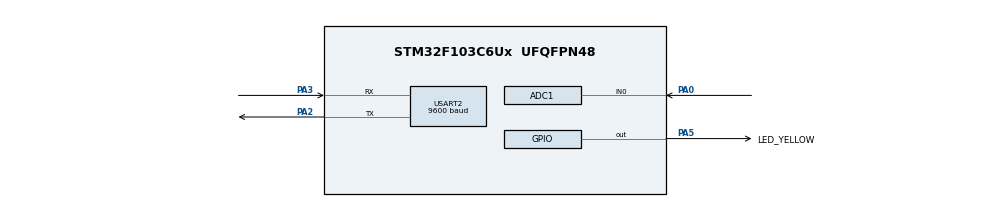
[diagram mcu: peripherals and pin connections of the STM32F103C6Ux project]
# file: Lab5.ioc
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ADC1.Channel-0\#ChannelRegularConversion=ADC_CHANNEL_0
ADC1.ContinuousConvMode=ENABLE
ADC1.NbrOfConversion=1
ADC1.NbrOfConversionFlag=1
ADC1.Rank-0\#ChannelRegularConversion=1
ADC1.SamplingTime-0\#ChannelRegularConversion=ADC_SAMPLETIME_1CYCLE_5
ADC1.master=1
Mcu.Family=STM32F1
Mcu.Name=STM32F103C6Ux
Mcu.Package=UFQFPN48
NVIC.PriorityGroup=NVIC_PRIORITYGROUP_4
NVIC.TIM2_IRQn=true\:0\:0\:false\:false\:true\:true\:true
NVIC.USART2_IRQn=true\:0\:0\:false\:false\:true\:true\:true
PA0-WKUP.Signal=ADCx_IN0
PA2.Mode=Asynchronous
PA2.Signal=USART2_TX
PA3.Mode=Asynchronous
PA3.Signal=USART2_RX
PA5.GPIO_Label=LED_YELLOW
PA5.Signal=GPIO_Output
ProjectManager.HeapSize=0x200
ProjectManager.StackSize=0x400
ProjectManager.TargetToolchain=STM32CubeIDE
RCC.APB1Freq_Value=8000000
RCC.APB2Freq_Value=8000000
SH.ADCx_IN0.0=ADC1_IN0,IN0
TIM2.Period=9
TIM2.Prescaler=7999
USART2.BaudRate=9600
USART2.VirtualMode=VM_ASYNC
VP_SYS_VS_ND.Mode=No_Debug
VP_TIM2_VS_ClockSourceINT.Mode=Internal
board=custom

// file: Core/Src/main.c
/* USER CODE BEGIN Header */
/**
  ******************************************************************************
  * @file           : main.c
  * @brief          : Main program body
  ******************************************************************************
  * @attention
  *
  * <h2><center>&copy; Copyright (c) 2022 STMicroelectronics.
  * All rights reserved.</center></h2>
  *
  * This software component is licensed by ST under BSD 3-Clause license,
  * the "License"; You may not use this file except in compliance with the
  * License. You may obtain a copy of the License at:
  *                        opensource.org/licenses/BSD-3-Clause
  *
  ******************************************************************************
  */
/* USER CODE END Header */
#include "main.h"

/* USER CODE BEGIN Includes */
#include <stdio.h>
#include "command_parser.h"
#include "uart_communication.h"
#include "software_timer.h"
#include "global.h"
/* USER CODE END Includes */

ADC_HandleTypeDef hadc1;

TIM_HandleTypeDef htim2;

UART_HandleTypeDef huart2;

void SystemClock_Config(void);
static void MX_GPIO_Init(void);
static void MX_ADC1_Init(void);
static void MX_USART2_UART_Init(void);
static void MX_TIM2_Init(void);

/* USER CODE BEGIN 0 */

void HAL_UART_RxCpltCallback ( UART_HandleTypeDef * huart ){
	if(huart -> Instance == USART2 ){
		buffer[index_buffer++] = temp;
		if (index_buffer == 30) index_buffer = 0;
		buffer_flag = 1;
		HAL_UART_Transmit(&huart2 , &temp , 1, 50);
		HAL_UART_Receive_IT	(&huart2 , &temp , 1);
	}
}
/* USER CODE END 0 */

int main(void)
{

  /* MCU Configuration--------------------------------------------------------*/

  /* Reset of all peripherals, Initializes the Flash interface and the Systick. */
  HAL_Init();

  /* Configure the system clock */
  SystemClock_Config();

  /* Initialize all configured peripherals */
  MX_GPIO_Init();
  MX_ADC1_Init();
  MX_USART2_UART_Init();
  MX_TIM2_Init();
  /* USER CODE BEGIN 2 */
  HAL_UART_Receive_IT (& huart2 , & temp , 1) ;
  HAL_TIM_Base_Start_IT(&htim2);
//  HAL_TIM_PWM_Start(&htim2, TIM_CHANNEL_1);
//  HAL_TIM_Base_Start_IT(&htim2);
  /* USER CODE END 2 */

  /* Infinite loop */
  /* USER CODE BEGIN WHILE */
  setTimer0(100);
  while (1)
  {
	  if(buffer_flag == 1){
		  command_parser_fsm();
		  buffer_flag = 0;
	  }
	  if(timer0_flag == 1){
		  timer0_flag = 0;
		  HAL_GPIO_TogglePin(LED_YELLOW_GPIO_Port, LED_YELLOW_Pin);
		  setTimer0(50);
	  }
	  uart_communication_fsm();
    /* USER CODE END WHILE */

  }
}

void SystemClock_Config(void)
{
  RCC_OscInitTypeDef RCC_OscInitStruct = {0};
  RCC_ClkInitTypeDef RCC_ClkInitStruct = {0};
  RCC_PeriphCLKInitTypeDef PeriphClkInit = {0};

  /** Initializes the RCC Oscillators according to the specified parameters
  * in the RCC_OscInitTypeDef structure.
  */
  RCC_OscInitStruct.OscillatorType = RCC_OSCILLATORTYPE_HSI;
  RCC_OscInitStruct.HSIState = RCC_HSI_ON;
  RCC_OscInitStruct.HSICalibrationValue = RCC_HSICALIBRATION_DEFAULT;
  RCC_OscInitStruct.PLL.PLLState = RCC_PLL_NONE;
  if (HAL_RCC_OscConfig(&RCC_OscInitStruct) != HAL_OK)
  {
    Error_Handler();
  }
  /** Initializes the CPU, AHB and APB buses clocks
  */
  RCC_ClkInitStruct.ClockType = RCC_CLOCKTYPE_HCLK|RCC_CLOCKTYPE_SYSCLK
                              |RCC_CLOCKTYPE_PCLK1|RCC_CLOCKTYPE_PCLK2;
  RCC_ClkInitStruct.SYSCLKSource = RCC_SYSCLKSOURCE_HSI;
  RCC_ClkInitStruct.AHBCLKDivider = RCC_SYSCLK_DIV1;
  RCC_ClkInitStruct.APB1CLKDivider = RCC_HCLK_DIV1;
  RCC_ClkInitStruct.APB2CLKDivider = RCC_HCLK_DIV1;

  if (HAL_RCC_ClockConfig(&RCC_ClkInitStruct, FLASH_LATENCY_0) != HAL_OK)
  {
    Error_Handler();
  }
  PeriphClkInit.PeriphClockSelection = RCC_PERIPHCLK_ADC;
  PeriphClkInit.AdcClockSelection = RCC_ADCPCLK2_DIV2;
  if (HAL_RCCEx_PeriphCLKConfig(&PeriphClkInit) != HAL_OK)
  {
    Error_Handler();
  }
}

static void MX_ADC1_Init(void)
{

  ADC_ChannelConfTypeDef sConfig = {0};

  /** Common config
  */
  hadc1.Instance = ADC1;
  hadc1.Init.ScanConvMode = ADC_SCAN_DISABLE;
  hadc1.Init.ContinuousConvMode = ENABLE;
  hadc1.Init.DiscontinuousConvMode = DISABLE;
  hadc1.Init.ExternalTrigConv = ADC_SOFTWARE_START;
  hadc1.Init.DataAlign = ADC_DATAALIGN_RIGHT;
  hadc1.Init.NbrOfConversion = 1;
  if (HAL_ADC_Init(&hadc1) != HAL_OK)
  {
    Error_Handler();
  }
  /** Configure Regular Channel
  */
  sConfig.Channel = ADC_CHANNEL_0;
  sConfig.Rank = ADC_REGULAR_RANK_1;
  sConfig.SamplingTime = ADC_SAMPLETIME_1CYCLE_5;
  if (HAL_ADC_ConfigChannel(&hadc1, &sConfig) != HAL_OK)
  {
    Error_Handler();
  }

}

static void MX_TIM2_Init(void)
{

  TIM_ClockConfigTypeDef sClockSourceConfig = {0};
  TIM_MasterConfigTypeDef sMasterConfig = {0};

  htim2.Instance = TIM2;
  htim2.Init.Prescaler = 7999;
  htim2.Init.CounterMode = TIM_COUNTERMODE_UP;
  htim2.Init.Period = 9;
  htim2.Init.ClockDivision = TIM_CLOCKDIVISION_DIV1;
  htim2.Init.AutoReloadPreload = TIM_AUTORELOAD_PRELOAD_DISABLE;
  if (HAL_TIM_Base_Init(&htim2) != HAL_OK)
  {
    Error_Handler();
  }
  sClockSourceConfig.ClockSource = TIM_CLOCKSOURCE_INTERNAL;
  if (HAL_TIM_ConfigClockSource(&htim2, &sClockSourceConfig) != HAL_OK)
  {
    Error_Handler();
  }
  sMasterConfig.MasterOutputTrigger = TIM_TRGO_RESET;
  sMasterConfig.MasterSlaveMode = TIM_MASTERSLAVEMODE_DISABLE;
  if (HAL_TIMEx_MasterConfigSynchronization(&htim2, &sMasterConfig) != HAL_OK)
  {
    Error_Handler();
  }

}

static void MX_USART2_UART_Init(void)
{

  huart2.Instance = USART2;
  huart2.Init.BaudRate = 9600;
  huart2.Init.WordLength = UART_WORDLENGTH_8B;
  huart2.Init.StopBits = UART_STOPBITS_1;
  huart2.Init.Parity = UART_PARITY_NONE;
  huart2.Init.Mode = UART_MODE_TX_RX;
  huart2.Init.HwFlowCtl = UART_HWCONTROL_NONE;
  huart2.Init.OverSampling = UART_OVERSAMPLING_16;
  if (HAL_UART_Init(&huart2) != HAL_OK)
  {
    Error_Handler();
  }

}

static void MX_GPIO_Init(void)
{
  GPIO_InitTypeDef GPIO_InitStruct = {0};

  /* GPIO Ports Clock Enable */
  __HAL_RCC_GPIOA_CLK_ENABLE();

  /*Configure GPIO pin Output Level */
  HAL_GPIO_WritePin(LED_YELLOW_GPIO_Port, LED_YELLOW_Pin, GPIO_PIN_RESET);

  /*Configure GPIO pin : LED_YELLOW_Pin */
  GPIO_InitStruct.Pin = LED_YELLOW_Pin;
  GPIO_InitStruct.Mode = GPIO_MODE_OUTPUT_PP;
  GPIO_InitStruct.Pull = GPIO_NOPULL;
  GPIO_InitStruct.Speed = GPIO_SPEED_FREQ_LOW;
  HAL_GPIO_Init(LED_YELLOW_GPIO_Port, &GPIO_InitStruct);

}

/* USER CODE BEGIN 4 */
void HAL_TIM_PeriodElapsedCallback(TIM_HandleTypeDef * htim){
timer_run();
}
/* USER CODE END 4 */

void Error_Handler(void)
{
  __disable_irq();
  while (1)
  {
  }
}

/************************ (C) COPYRIGHT STMicroelectronics *****END OF FILE****/
